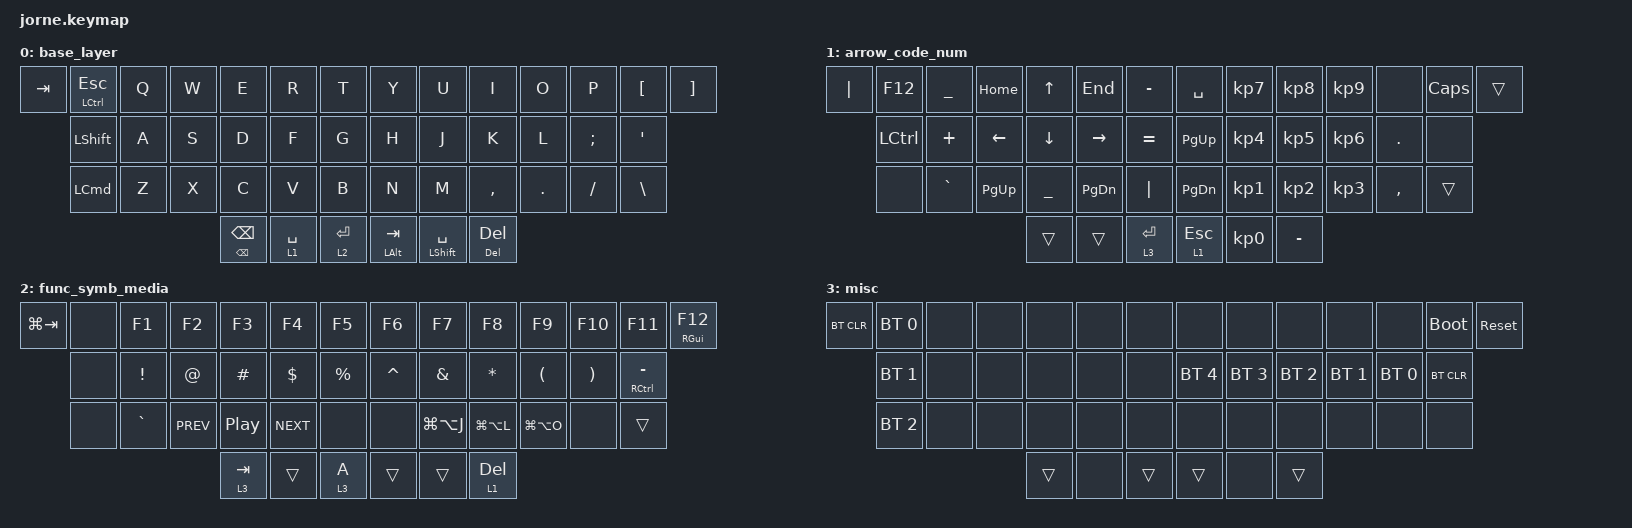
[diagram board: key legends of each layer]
/*
 * Copyright (c) 2020 The ZMK Contributors
 *
 * SPDX-License-Identifier: MIT
 */
/* THIS FILE WAS GENERATED!
 *
 * This file was generated automatically. You may or may not want to
 * edit it directly.
 */

#include <behaviors.dtsi>
#include <dt-bindings/zmk/bt.h>
#include <dt-bindings/zmk/keys.h>

&mt { tapping-term-ms = <150>; };

&lt { tapping-term-ms = <150>; };

/ {
    macros {
        shutDownTerminalProcess: shutDownTerminalProcess {
            compatible = "zmk,behavior-macro";
            #binding-cells = <0>;
            bindings =
                <&macro_press>,
                <&kp LEFT_CONTROL &kp C>,
                <&macro_release>;

            label = "SHUTDOWNTERMINALPROCESS";
        };

        ControlC: ControlC {
            compatible = "zmk,behavior-macro";
            #binding-cells = <0>;
            bindings = <&kp LC(C)>;
            label = "CONTROLC";
        };

        AltTab: AltTab {
            compatible = "zmk,behavior-macro";
            #binding-cells = <0>;
            bindings = <&kp LG(TAB)>;
            label = "ALTTAB";
        };

        Wrap_console_log: Wrap_console_log {
            compatible = "zmk,behavior-macro";
            #binding-cells = <0>;
            bindings =
                <&macro_press>,
                <&kt LEFT_CONTROL &kt LEFT_ALT &kt W &kp W>,
                <&macro_release>;

            label = "WRAP_CONSOLE_LOG";
        };

        Wrap_console_down: Wrap_console_down {
            compatible = "zmk,behavior-macro";
            #binding-cells = <0>;
            bindings =
                <&macro_press>,
                <&kt LEFT_CONTROL &kt LEFT_ALT &kt W &kp DOWN>,
                <&macro_release>;

            label = "WRAP_CONSOLE_DOWN";
        };

        Wrap_console_up: Wrap_console_up {
            compatible = "zmk,behavior-macro";
            #binding-cells = <0>;
            bindings =
                <&macro_press>,
                <&kp LEFT_CONTROL &kp LEFT_ALT &kp W &kp UP>,
                <&macro_release>;

            label = "WRAP_CONSOLE_UP";
        };
    };

    combos {
        compatible = "zmk,combos";

        Alt+Tab {
            bindings = <&kp LEFT_ALT>;
            key-positions = <41>;
        };
    };

    keymap {
        compatible = "zmk,keymap";

        base_layer {
            bindings = <
&kp TAB  &mt LEFT_CONTROL ESCAPE  &kp Q  &kp W  &kp E                    &kp R        &kp T      &kp Y             &kp U                 &kp I              &kp O    &kp P     &kp LBKT  &kp RIGHT_BRACKET
         &kp LEFT_SHIFT           &kp A  &kp S  &kp D                    &kp F        &kp G      &kp H             &kp J                 &kp K              &kp L    &kp SEMI  &kp SQT
         &kp LEFT_COMMAND         &kp Z  &kp X  &kp C                    &kp V        &kp B      &kp N             &kp M                 &kp COMMA          &kp DOT  &kp FSLH  &kp BSLH
                                                &mt BACKSPACE BACKSPACE  &lt 1 SPACE  &lt 2 RET  &mt LEFT_ALT TAB  &mt LEFT_SHIFT SPACE  &mt DELETE DELETE
            >;
        };

        arrow_code_num {
            bindings = <
&kp PIPE  &kp F12           &kp UNDERSCORE  &kp HOME        &kp UP_ARROW    &kp END          &kp MINUS  &kp SPACE      &kp KP_NUMBER_7  &kp KP_NUMBER_8  &kp KP_NUMBER_9  &none      &kp CAPS  &trans
          &kp LEFT_CONTROL  &kp PLUS        &kp LEFT_ARROW  &kp DOWN_ARROW  &kp RIGHT_ARROW  &kp EQUAL  &kp PAGE_UP    &kp KP_NUMBER_4  &kp KP_NUMBER_5  &kp KP_NUMBER_6  &kp DOT    &none
          &none             &kp GRAVE       &kp PAGE_UP     &kp UNDERSCORE  &kp PAGE_DOWN    &kp PIPE   &kp PAGE_DOWN  &kp KP_NUMBER_1  &kp KP_NUMBER_2  &kp KP_NUMBER_3  &kp COMMA  &trans
                                                            &trans          &trans           &lt 3 RET  &lt 1 ESC      &kp KP_NUMBER_0  &kp MINUS
            >;
        };

        func_symb_media {
            bindings = <
&kp LG(TAB)  &none  &kp F1     &kp F2      &kp F3            &kp F4      &kp F5     &kp F6     &kp F7         &kp F8         &kp F9         &kp F10   &kp F11          &mt RGUI F12
             &none  &kp EXCL   &kp AT      &kp HASH          &kp DLLR    &kp PRCNT  &kp CARET  &kp AMPS       &kp STAR       &kp LPAR       &kp RPAR  &mt RCTRL MINUS
             &none  &kp GRAVE  &kp C_PREV  &kp C_PLAY_PAUSE  &kp C_NEXT  &none      &none      &kp LG(LA(J))  &kp LG(LA(L))  &kp LG(LA(O))  &none     &trans
                                           &lt 3 TAB         &trans      &lt 3 A    &trans     &trans         &lt 1 DEL
            >;
        };

        misc {
            bindings = <
&bt BT_CLR  &bt BT_SEL 0  &none  &none  &none   &none  &none   &none         &none         &none         &none         &none         &bootloader  &sys_reset
            &bt BT_SEL 1  &none  &none  &none   &none  &none   &bt BT_SEL 4  &bt BT_SEL 3  &bt BT_SEL 2  &bt BT_SEL 1  &bt BT_SEL 0  &bt BT_CLR
            &bt BT_SEL 2  &none  &none  &none   &none  &none   &none         &none         &none         &none         &none         &none
                                        &trans  &none  &trans  &trans        &none         &trans
            >;
        };
    };
};
